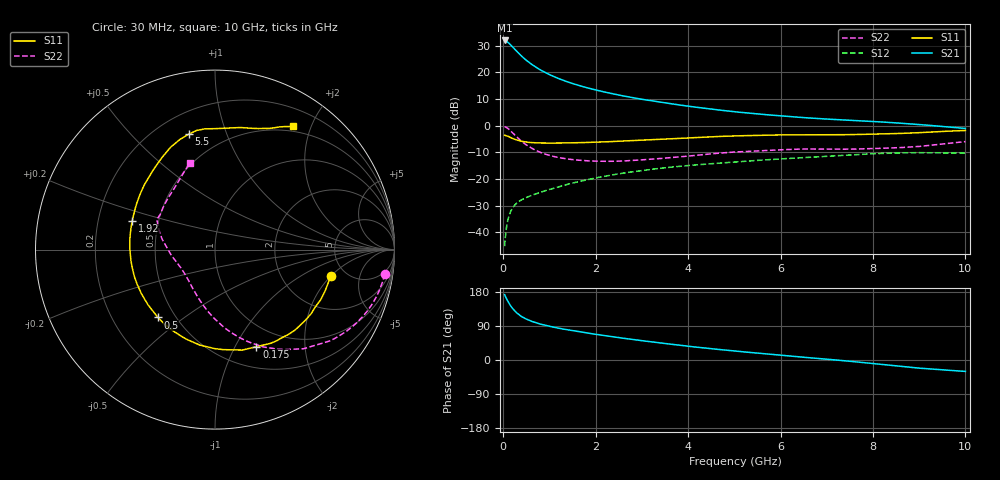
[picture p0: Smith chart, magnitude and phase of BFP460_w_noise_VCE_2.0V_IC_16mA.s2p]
! (c) 2016  Infineon Technologies AG, Munich
! Infineon Technologies  Discrete & RF Semiconductors
! BFP460
! VCE =  2.0 V,  IC =  16 mA
! Common Emitter S-Parameters:  Jan 2016
# GHz  S  MA  R  50
!  f  S11  S21  S12  S22
! GHz  MAG  ANG  MAG  ANG  MAG  ANG  MAG  ANG
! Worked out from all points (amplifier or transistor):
!   229 points, 30 MHz to 10 GHz, reference 50 ohm
!   highest |S21| = 32.0 dB at 30 MHz (marker M1)
!   |S21| within 3 dB of that: start of sweep to 234.6 MHz
!   unconditionally stable (mu >= 1): 1.976 GHz to 7.942 GHz
!   at 280 MHz: K = 0.37, MSG = 28.7 dB, |S12| = -29.2 dB
!   at 1.78 GHz: K = 0.98, MSG = 17.4 dB, |S12| = -20.4 dB
!   at 10 GHz: K = 0.98, MSG = 4.6 dB, |S12| = -10.3 dB
!   lowest NFmin = 1.13 dB at 900 MHz
!   S11 on the Smith chart (normalised r, x): 30 MHz: 3.81, -1.99; 175 MHz: 0.74, -1.22; 500 MHz: 0.40, -0.40; 1.92 GHz: 0.35, +0.15; 5.5 GHz: 0.33, +0.74; 10 GHz: 0.43, +1.74
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0.03  0.6615 -12.8  39.71 172.5  0.0055 84.0  0.9555 -8.2
0.05  0.6552 -20.8  38.96 166.6  0.0088 81.1  0.944 -13.8
0.09  0.6393 -37.9  37.34 157.3  0.0155 73.8  0.903 -24.5
0.14  0.6131 -56.0  34.27 146.8  0.0222 66.9  0.8327 -36.3
0.175  0.5882 -66.9  31.82 140.8  0.026 62.8  0.7763 -43.1
0.2  0.58 -74.8  30.29 136.3  0.0286 60.4  0.7409 -48.2
0.24  0.5592 -85.3  27.79 130.7  0.0318 57.4  0.683 -54.6
0.3  0.5386 -99.1  24.48 123.5  0.0358 54.0  0.6071 -63.4
0.4  0.5102 -116.8  20.08 114.4  0.0409 50.9  0.5078 -74.6
0.5  0.4938 -130.1  16.85 107.9  0.045 49.8  0.4363 -83.4
0.6  0.4838 -140.5  14.44 102.7  0.0488 49.5  0.3845 -90.5
0.7  0.478 -148.9  12.6 98.4  0.0526 49.7  0.3459 -96.7
0.9  0.4737 -161.8  10.03 91.7  0.0601 50.5  0.2946 -106.7
1.3  0.4748 -179.7  7.083 81.6  0.0758 51.6  0.2442 -121.8
1.7  0.4818 167.3  5.475 73.5  0.0922 51.4  0.2229 -133.2
1.92  0.4881 161.1  4.872 69.3  0.1014 50.7  0.2174 -138.8
3.4  0.5551 129.6  2.758 45.1  0.1589 41.5  0.2427 -171.6
5.1  0.6467 106.7  1.793 22.6  0.2111 29.7  0.3236 162.6
5.5  0.6595 102.8  1.661 18.1  0.2237 27.1  0.3358 159.1
6.8  0.6738 91.9  1.365 4.2  0.2605 18.0  0.3644 151.1
8.4  0.7069 72.9  1.144 -14.3  0.3066 4.1  0.3822 135.3
10  0.8134 57.5  0.888 -30.1  0.3059 -8.3  0.5033 106.1
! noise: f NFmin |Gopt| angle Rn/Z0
0.45  1.15  0.02  -171  0.12
0.9  1.13  0.05  97  0.15
1.9  1.29  0.14  -157  0.12
3.5  1.26  0.38  -127  0.14
